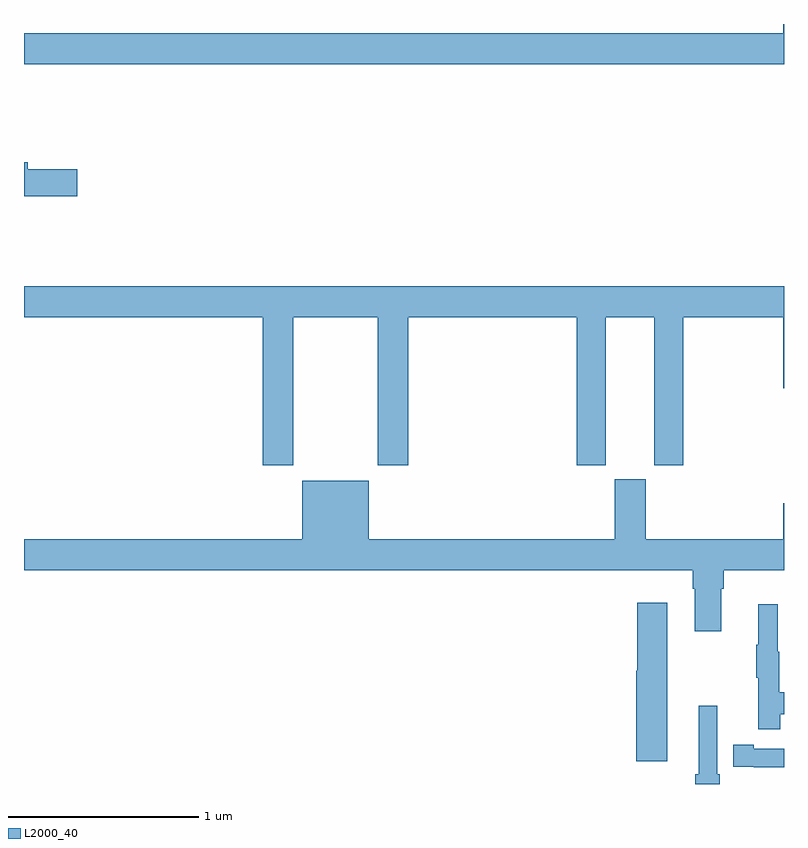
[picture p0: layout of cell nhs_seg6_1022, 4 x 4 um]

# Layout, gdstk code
import gdstk
lib = gdstk.Library(unit=1e-6, precision=1e-09)
def P(c, l, *ps):  # polygons
    for p in ps: c.add(gdstk.Polygon(p, *l))
L2000_40 = (2000, 40)

nhs_seg6_1022 = lib.new_cell('nhs_seg6_1022')
P(nhs_seg6_1022, L2000_40, [(177,995.5),(176.996,995.5),(176.996,995.452),(173,995.452),(173,995.288),(177,995.288)],
  [(173.281,994.736),(173.02,994.736),(173.02,994.772),(173,994.772),(173,994.594),(173.281,994.594)],
  [(174.417,993.956),(174.862,993.956),(174.862,993.177),(175.022,993.177),(175.022,993.956),(175.91,993.956),(175.91,993.177),(176.062,993.177),(176.062,993.956),(176.318,993.956),(176.318,993.177),(176.471,993.177),(176.471,993.956),(176.996,993.956),(176.996,993.582),(177,993.582),(177,994.12),(173,994.12),(173,993.956),(174.257,993.956),(174.257,993.177),(174.417,993.177)],
  [(176.272,993.105),(176.108,993.105),(176.108,992.788),(174.814,992.788),(174.814,993.097),(174.464,993.097),(174.464,992.788),(173,992.788),(173,992.624),(176.519,992.624),(176.519,992.528),(176.531,992.528),(176.531,992.304),(176.671,992.304),(176.671,992.528),(176.684,992.528),(176.684,992.624),(177,992.624),(177,992.977),(176.996,992.977),(176.996,992.788),(176.272,992.788)],
  [(176.386,992.455),(176.228,992.455),(176.228,992.097),(176.222,992.097),(176.222,991.62),(176.386,991.62)],
  [(176.981,991.866),(177,991.866),(177,991.982),(176.974,991.982),(176.974,992.196),(176.966,992.196),(176.966,992.446),(176.864,992.446),(176.864,992.233),(176.853,992.233),(176.853,992.059),(176.864,992.059),(176.864,991.788),(176.981,991.788)],
  [(176.663,991.552),(176.649,991.552),(176.649,991.912),(176.552,991.912),(176.552,991.552),(176.533,991.552),(176.533,991.5),(176.663,991.5)],
  [(177,991.686),(176.842,991.686),(176.842,991.706),(176.734,991.706),(176.734,991.59),(176.842,991.59),(176.842,991.589),(177,991.589)])

lib.write_gds('nhs_seg6_1022.gds')
